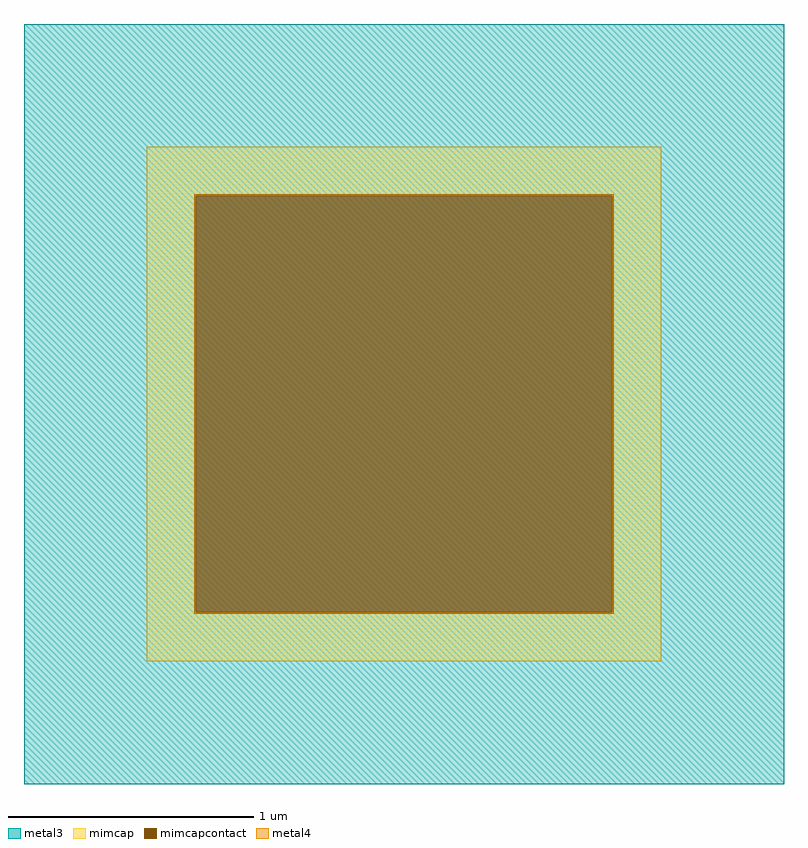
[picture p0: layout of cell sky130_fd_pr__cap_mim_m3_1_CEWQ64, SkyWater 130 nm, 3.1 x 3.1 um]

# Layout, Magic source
magic
tech sky130A
magscale 1 2
<< metal3 >>
rect -360 -310 260 310
<< mimcap >>
rect -260 170 160 210
rect -260 -170 -220 170
rect 120 -170 160 170
rect -260 -210 160 -170
<< mimcapcontact >>
rect -220 -170 120 170
<< metal4 >>
rect -221 170 121 171
rect -221 -170 -220 170
rect 120 -170 121 170
rect -221 -171 121 -170
<< properties >>
string FIXED_BBOX -360 -310 260 310
string gencell sky130_fd_pr__cap_mim_m3_1
string library sky130
string parameters w 2.1 l 2.1 val 10.416 carea 2.00 cperi 0.19 nx 1 ny 1 dummy 0 square 1 lmin 2.00 wmin 2.00 lmax 30.0 wmax 30.0 dc 0 bconnect 1 tconnect 1 ccov 100
<< end >>
